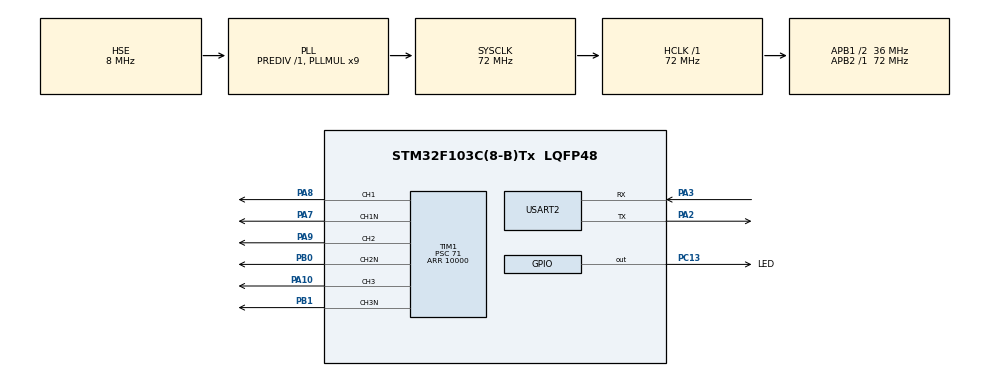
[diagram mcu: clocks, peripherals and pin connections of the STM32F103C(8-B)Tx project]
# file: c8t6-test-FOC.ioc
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Mcu.Family=STM32F1
Mcu.Name=STM32F103C(8-B)Tx
Mcu.Package=LQFP48
NVIC.PriorityGroup=NVIC_PRIORITYGROUP_4
PA10.Signal=S_TIM1_CH3
PA13.Mode=Serial_Wire
PA13.Signal=SYS_JTMS-SWDIO
PA14.Mode=Serial_Wire
PA14.Signal=SYS_JTCK-SWCLK
PA2.Mode=Asynchronous
PA2.Signal=USART2_TX
PA3.Mode=Asynchronous
PA3.Signal=USART2_RX
PA7.Mode=PWM Generation1 CH1 CH1N
PA7.Signal=TIM1_CH1N
PA8.Signal=S_TIM1_CH1
PA9.Signal=S_TIM1_CH2
PB0.Mode=PWM Generation2 CH2 CH2N
PB0.Signal=TIM1_CH2N
PB1.Mode=PWM Generation3 CH3 CH3N
PB1.Signal=TIM1_CH3N
PC13-TAMPER-RTC.GPIO_Label=LED
PC13-TAMPER-RTC.PinState=GPIO_PIN_SET
PC13-TAMPER-RTC.Signal=GPIO_Output
PD0-OSC_IN.Mode=HSE-External-Oscillator
PD0-OSC_IN.Signal=RCC_OSC_IN
PD1-OSC_OUT.Mode=HSE-External-Oscillator
PD1-OSC_OUT.Signal=RCC_OSC_OUT
ProjectManager.HeapSize=0x200
ProjectManager.StackSize=0x400
ProjectManager.TargetToolchain=CMake
RCC.AHBFreq_Value=72000000
RCC.APB1CLKDivider=RCC_HCLK_DIV2
RCC.APB1Freq_Value=36000000
RCC.APB1TimFreq_Value=72000000
RCC.APB2Freq_Value=72000000
RCC.APB2TimFreq_Value=72000000
RCC.HCLKFreq_Value=72000000
RCC.PLLMUL=RCC_PLL_MUL9
RCC.PLLSourceVirtual=RCC_PLLSOURCE_HSE
RCC.SYSCLKFreq_VALUE=72000000
RCC.SYSCLKSource=RCC_SYSCLKSOURCE_PLLCLK
RCC.USBFreq_Value=72000000
SH.S_TIM1_CH1.0=TIM1_CH1,PWM Generation1 CH1 CH1N
SH.S_TIM1_CH2.0=TIM1_CH2,PWM Generation2 CH2 CH2N
SH.S_TIM1_CH3.0=TIM1_CH3,PWM Generation3 CH3 CH3N
TIM1.AutomaticOutput=TIM_AUTOMATICOUTPUT_ENABLE
TIM1.Channel-PWM\ Generation1\ CH1\ CH1N=TIM_CHANNEL_1
TIM1.Channel-PWM\ Generation2\ CH2\ CH2N=TIM_CHANNEL_2
TIM1.Channel-PWM\ Generation3\ CH3\ CH3N=TIM_CHANNEL_3
TIM1.DeadTime=100
TIM1.OffStateIDLEMode=TIM_OSSI_ENABLE
TIM1.OffStateRunMode=TIM_OSSR_ENABLE
TIM1.Period=10000
TIM1.Prescaler=71
USART2.VirtualMode=VM_ASYNC
VP_TIM1_VS_ClockSourceINT.Mode=Internal
board=custom

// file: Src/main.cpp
/* USER CODE BEGIN Header */
/**
  ******************************************************************************
  * @file           : main.c
  * @brief          : Main program body
  ******************************************************************************
  * @attention
  *
  * Copyright (c) 2025 STMicroelectronics.
  * All rights reserved.
  *
  * This software is licensed under terms that can be found in the LICENSE file
  * in the root directory of this software component.
  * If no LICENSE file comes with this software, it is provided AS-IS.
  *
  ******************************************************************************
  */
/* USER CODE END Header */
#include "main.h"
#include "tim.h"
#include "usart.h"
#include "gpio.h"

/* USER CODE BEGIN Includes */
#include <stdio.h>
#include <string.h>
#include <stdlib.h>
#include <stdint.h>
#include "../lib/simpleFOC-next/BLDCMotor.hpp"
#include "../lib/simpleFOC-next/common/foc_utils.hpp"
/* USER CODE END Includes */

void SystemClock_Config(void);

int main(void)
{

  /* MCU Configuration--------------------------------------------------------*/

  /* Reset of all peripherals, Initializes the Flash interface and the Systick. */
  HAL_Init();

  /* Configure the system clock */
  SystemClock_Config();

  /* Initialize all configured peripherals */
  MX_GPIO_Init();
  MX_TIM1_Init();
  MX_USART2_UART_Init();
  /* USER CODE BEGIN 2 */
  BLDCDriver3PWM _test_PWM(&htim1, 0, 0, 0);
  _test_PWM.init();

  BLDCMotor _test_motor(7, 0.1, 0.1, 0.1);

  BLDCDriver3PWM _test_driver(&htim1, 0, 0, 0);
  _test_driver.init();

  _test_motor.linkDriver(&_test_driver);
  /* USER CODE END 2 */

  /* Infinite loop */
  /* USER CODE BEGIN WHILE */
  while (1)
  {
    // HAL_UART_Transmit(&huart2, (uint8_t*)"Hello World!\n", 14, 1000);
    // HAL_Delay(1000);

    for (int i=0; i<10000; i++){
      float a = i / 10000.0 * _2PI;
      _test_motor.setPhaseVoltage(12, 0, a);

      HAL_Delay(3);
    }

    for (int i=10000; i>0; i--){
      float a = i / 10000.0 * _2PI;
      _test_motor.setPhaseVoltage(12, 0, a);

      HAL_Delay(1);
    }
    /* USE
    /* USER CODE END WHILE */

  }
}

void SystemClock_Config(void)
{
  RCC_OscInitTypeDef RCC_OscInitStruct = {0};
  RCC_ClkInitTypeDef RCC_ClkInitStruct = {0};

  /** Initializes the RCC Oscillators according to the specified parameters
  * in the RCC_OscInitTypeDef structure.
  */
  RCC_OscInitStruct.OscillatorType = RCC_OSCILLATORTYPE_HSE;
  RCC_OscInitStruct.HSEState = RCC_HSE_ON;
  RCC_OscInitStruct.HSEPredivValue = RCC_HSE_PREDIV_DIV1;
  RCC_OscInitStruct.HSIState = RCC_HSI_ON;
  RCC_OscInitStruct.PLL.PLLState = RCC_PLL_ON;
  RCC_OscInitStruct.PLL.PLLSource = RCC_PLLSOURCE_HSE;
  RCC_OscInitStruct.PLL.PLLMUL = RCC_PLL_MUL9;
  if (HAL_RCC_OscConfig(&RCC_OscInitStruct) != HAL_OK)
  {
    Error_Handler();
  }

  /** Initializes the CPU, AHB and APB buses clocks
  */
  RCC_ClkInitStruct.ClockType = RCC_CLOCKTYPE_HCLK|RCC_CLOCKTYPE_SYSCLK
                              |RCC_CLOCKTYPE_PCLK1|RCC_CLOCKTYPE_PCLK2;
  RCC_ClkInitStruct.SYSCLKSource = RCC_SYSCLKSOURCE_PLLCLK;
  RCC_ClkInitStruct.AHBCLKDivider = RCC_SYSCLK_DIV1;
  RCC_ClkInitStruct.APB1CLKDivider = RCC_HCLK_DIV2;
  RCC_ClkInitStruct.APB2CLKDivider = RCC_HCLK_DIV1;

  if (HAL_RCC_ClockConfig(&RCC_ClkInitStruct, FLASH_LATENCY_2) != HAL_OK)
  {
    Error_Handler();
  }
}

void Error_Handler(void)
{
  __disable_irq();
  while (1)
  {
  }
}
